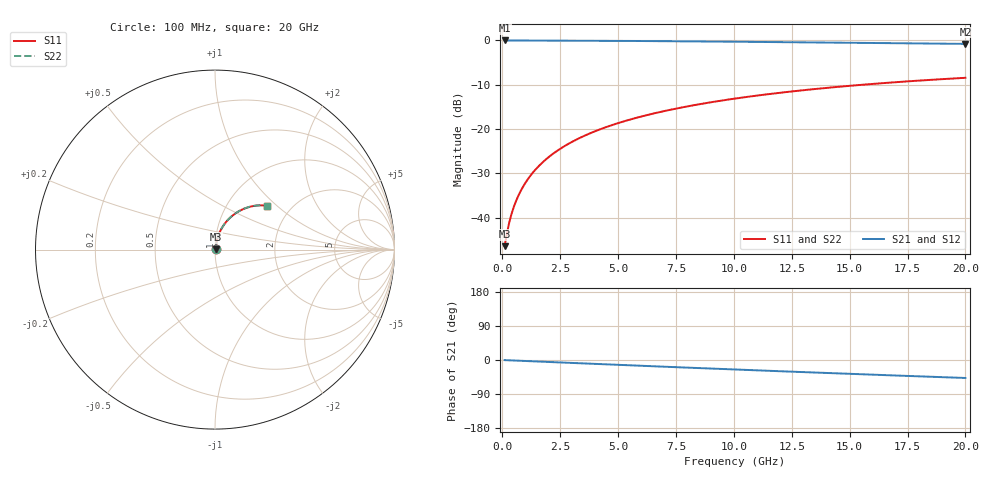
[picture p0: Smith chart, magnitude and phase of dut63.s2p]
! Touchstone file exported from HFSS 2026.1.0
!  File:  C:/ffzhzh/LocalFiles/Ansys_Project_Files/temp_train_BSMRDL_63_1782882764_43084.aedt
!  Generated:  01:14:01 PM Jul  1, 2026
!  Design:  BSMRDL
!  Project:  temp_train_BSMRDL_63_1782882764_43084
! Variables:
!  h_bsmrdl = 3.98um
!  h_ox = 20um
!  h_rdl = 5um
!  h_sub = 80um
!  h_tmrdl = 5um
!  h_tsv = 80um
!  h_via = 3um
!  l_bsmrdl = 748.7um
!  l_sub = 1148.7um
!  l_tmrdl = 200um
!  m_sub = 200um
!  pitch = 36.05um
!  r_tsv = 6um
!  s_tmrdl = 10um
!  w_bsmrdl = 17.4um
!  w_sub = 500um
!  w_tmrdl = 12um
!  x_tsv_center1 = 206um
!  x_tsv_center2 = 972.1um
!  x_tsv_center3 = 1184.1um
!  x_tsv_center4 = 1950.2um
!  x_tsv_center5 = 2162.2um
!  x_tsv_center6 = 2928.3um
# GHz S MA R 50.000000
! Terminal data exported
! Port[1] = BSM_RDL1_1_T1
! Port[2] = BSM_RDL1_1_T2
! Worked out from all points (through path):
!   200 points, 100 MHz to 20 GHz, reference 50 ohm
!   highest |S21| = -0.03 dB at 100 MHz (marker M1); lowest = -0.8 dB at 20 GHz (marker M2)
!   group delay of S21, straight-line fit = 6.59 ps
!   lowest |S11| = -46.4 dB at 100 MHz (marker M3), VSWR 1.01, Z = 50.4 + j0.267 ohm
!   |S11| at or under -10 dB: start of sweep to 15.6 GHz
!   |S22| runs from -46.4 to -8.5 dB; largest |S21 - S12| = 5.2e-15
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0.1  0.004774 33.7  0.996 -0.3  0.996 -0.3  0.004774 33.7
! Gamma 0 0 0 0
! Port Impedance 50 0 50 0
0.2  0.006671 51.1  0.9958 -0.5  0.9958 -0.5  0.006671 51.1
0.3  0.008828 59.9  0.9956 -0.8  0.9956 -0.8  0.008828 59.9
0.4  0.01105 65.0  0.9955 -1.1  0.9955 -1.1  0.01105 65.0
0.5  0.01329 68.4  0.9953 -1.3  0.9953 -1.3  0.01329 68.4
0.6  0.01555 70.8  0.9952 -1.6  0.9952 -1.6  0.01555 70.8
0.8  0.02013 74.0  0.995 -2.1  0.995 -2.1  0.02013 74.0
1.1  0.02708 76.5  0.9946 -2.9  0.9946 -2.9  0.02708 76.5
1.3  0.03175 77.4  0.9944 -3.4  0.9944 -3.4  0.03175 77.4
1.6  0.03878 78.0  0.994 -4.2  0.994 -4.2  0.03877 78.0
2.1  0.05047 78.2  0.9932 -5.4  0.9932 -5.4  0.05047 78.2
2.7  0.06443 77.7  0.992 -7.0  0.992 -7.0  0.06443 77.7
3.5  0.08283 76.4  0.99 -9.0  0.99 -9.0  0.08282 76.4
4.2  0.09867 75.0  0.988 -10.8  0.988 -10.8  0.09867 75.1
5  0.1165 73.3  0.9853 -12.8  0.9853 -12.8  0.1165 73.4
5.9  0.1361 71.3  0.9821 -15.0  0.9821 -15.0  0.1361 71.4
6.8  0.1552 69.3  0.9785 -17.2  0.9785 -17.2  0.1552 69.3
8.3  0.186 65.9  0.9721 -20.9  0.9721 -20.9  0.186 65.9
10.1  0.2212 61.8  0.9636 -25.2  0.9636 -25.2  0.2212 61.8
13.4  0.2806 54.4  0.9467 -32.9  0.9467 -32.9  0.2806 54.5
16.7  0.3328 47.3  0.9289 -40.3  0.9289 -40.3  0.3328 47.4
20  0.3777 40.4  0.9113 -47.4  0.9113 -47.4  0.3777 40.5
